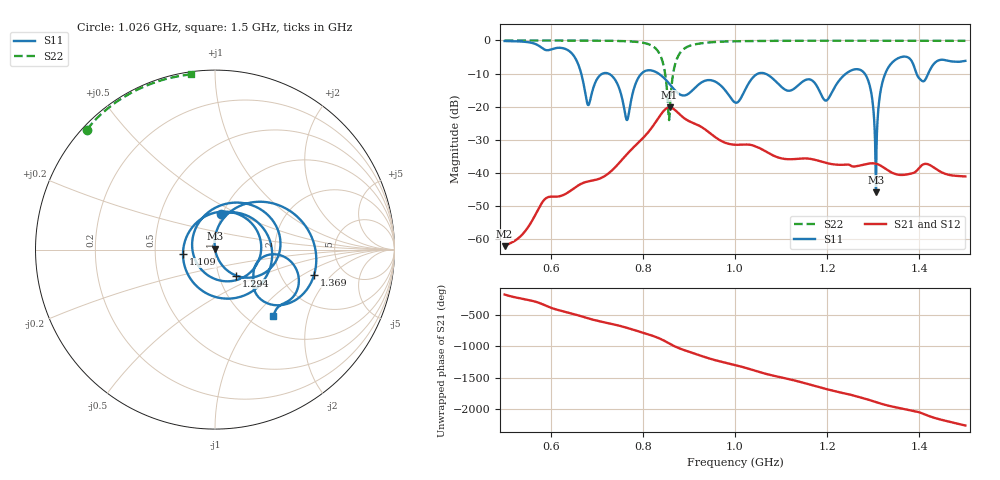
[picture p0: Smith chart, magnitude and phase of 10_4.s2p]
! TOUCHSTONE file generated by CST MICROWAVE STUDIO
! Date and time: Sat Nov 14 19:59:38 2020
! Project name: Scenario_1_Planar_Body_Tissue_Out_of_Line.cst
! Parameters = {dy1=190.3; L_HA=400; Ltissue=700; MT=2.54; Rad_Dielectric=30; Rad_Lower=7.3; Rad_Upper=30; Wtissue=700; a_HA=580; a_WG=246; b_HA=500; b_WG=121; c_HA=0; c_WG=187; d_feed=85; dx1=693; h_feed=15; h_lower=18; h_upper=40; hfat=3; hgap=25; hmuscle=50; hskin=1.5}
! Header version: 2018
! Port assignment regex: !\s*Touchstone port\s*([0-9]+)\s*=\s*(CST MWS port|CST DS port)\s*([0-9]+|Zmin|Zmax)\s*\(\"(.*)\"\)(\s*mode\s*([0-9]+))?.*
! Touchstone port assignment:
! Touchstone port 1 = CST MWS port 1 ("")
! Touchstone port 2 = CST MWS port 2 ("")
# GHz S DB R 50
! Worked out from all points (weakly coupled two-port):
!   1003 points, 500 MHz to 1.5 GHz, reference 50 ohm
!   highest |S21| = -20.24 dB at 858 MHz (marker M1); lowest = -62.1 dB at 500 MHz (marker M2)
!   lowest |S11| = -45.8 dB at 1.306 GHz (marker M3), VSWR 1.01, Z = 50 + j0.511 ohm
!   |S11| at or under -10 dB: 725.1 MHz to 797.2 MHz (72.12 MHz wide, 9.48 % of centre); 834 MHz to 1.05 GHz (216.3 MHz wide, 23 % of centre); 1.065 GHz to 1.241 GHz (176 MHz wide, 15.3 % of centre) (the widest 3 of 6)
!   |S22| runs from -24.1 to 0.0 dB; largest |S21 - S12| = 0.00015
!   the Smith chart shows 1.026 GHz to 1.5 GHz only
!   S11 on the Smith chart (normalised r, x): 1.026 GHz: 0.98, +0.41; 1.109 GHz: 0.70, -0.04; 1.294 GHz: 1.21, -0.36; 1.369 GHz: 3.07, -1.27; 1.5 GHz: 1.28, -1.25
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0.5  -0.19 -121.6  -62.14 -179.0  -62.14 -179.0  -0.01 151.2
0.621  -2.23 173.8  -47.01 -74.4  -47.01 -74.4  -0.02 142.5
0.667  -10.40 107.8  -43.25 -167.3  -43.25 -167.3  -0.04 138.4
0.682  -19.52 148.5  -42.57 160.0  -42.57 160.0  -0.05 136.8
0.732  -10.60 120.0  -39.39 74.7  -39.39 74.7  -0.12 130.5
0.765  -24.03 -23.5  -34.44 12.4  -34.44 12.4  -0.24 124.2
0.799  -9.76 160.3  -29.68 -63.5  -29.68 -63.5  -0.67 112.8
0.834  -10.00 65.0  -23.40 -151.1  -23.40 -151.1  -3.50 82.5
0.858  -13.17 -4.2  -20.24 119.8  -20.24 119.8  -22.47 -83.2
0.887  -16.63 -106.9  -23.19 23.6  -23.19 23.6  -2.79 177.9
1  -18.74 -155.0  -31.51 139.8  -31.50 139.8  -0.25 140.0
1.026  -13.84 80.7  -31.44 88.2  -31.44 88.2  -0.20 136.9
1.055  -9.83 -12.7  -32.64 23.2  -32.64 23.2  -0.16 133.8
1.109  -14.88 -172.0  -35.81 -71.7  -35.81 -71.7  -0.12 128.8
1.167  -12.06 -15.7  -35.85 178.2  -35.85 178.2  -0.09 124.1
1.236  -10.59 62.3  -37.55 50.0  -37.56 50.0  -0.09 118.9
1.294  -14.60 -50.9  -37.14 -62.2  -37.14 -62.2  -0.09 114.5
1.306  -45.83 92.0  -37.24 -90.6  -37.24 -90.6  -0.09 113.6
1.334  -7.90 40.5  -39.42 -149.3  -39.42 -149.3  -0.09 111.5
1.369  -4.88 -14.2  -40.57 157.2  -40.57 157.2  -0.09 108.8
1.407  -12.31 -25.6  -37.55 88.3  -37.55 88.3  -0.10 105.7
1.5  -6.17 -48.6  -41.08 -101.9  -41.08 -101.9  -0.13 97.9
